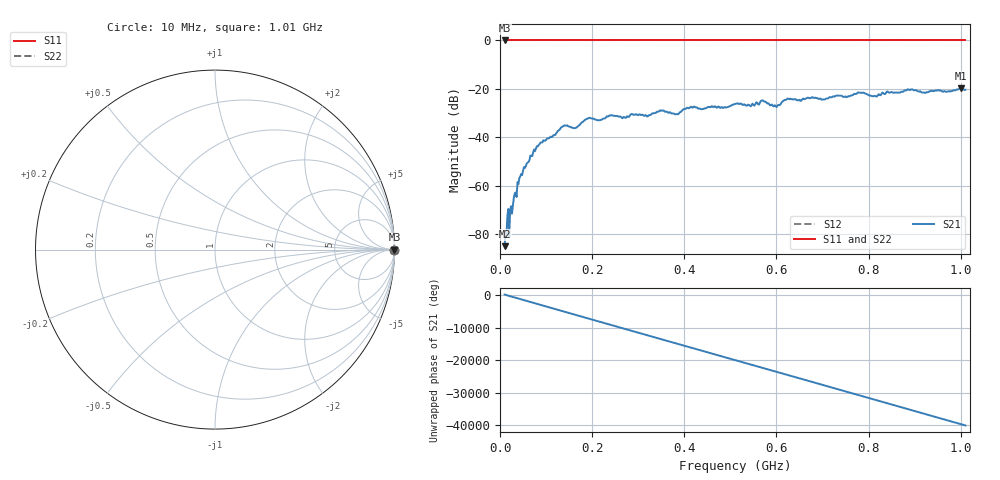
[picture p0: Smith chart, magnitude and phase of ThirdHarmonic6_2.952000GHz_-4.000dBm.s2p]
! 8/17/2025 8:18:11 AM
! C:\ANRITSUVNA\TEMP\TEMP.S2P
! CHANNEL.1
! TR.MEASUREMENT
! RAW.DATA
! RF.CORRECTION.OFF
! AVERAGING.OFF
! IF.BANDWIDTH: 5KHZ
! SWEEPTYPE:  FREQ.SWEEP(Linear)
! Reference Plane Port Info
! PORT:  PORT1  PORT2
! DISTANCE:  0  m  0  m
! TIME:  0  s  0  s
! PHASE.OFFSET:  0  deg.  0  deg.
! LOSS:  0  dB  0  dB
! REF.LOSS:  0  dB  0  dB
! REF.FREQ:  0  Hz  0  Hz
! Power Info
! POWER:  -20  dBm  -20  dBm
! EFF.POWER:  -20  dBm  -20  dBm
! SOURCE.ATTEN:  0  dB  0  dB
! TEST.ATTEN:  0  dB  0  dB
# GHZ S RI R 50.0
! FREQ.GHZ  S11RE  S11IM  S21RE  S21IM  S12RE  S12IM  S22RE  S22IM
!; PortSelection: Port_12
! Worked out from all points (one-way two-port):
!   501 points, 10 MHz to 1.01 GHz, reference 50 ohm
!   highest |S21| = -19.70 dB at 1 GHz (marker M1); lowest = -84.9 dB at 10 MHz (marker M2)
!   lowest |S11| = 0.0 dB at 10 MHz (marker M3)
!   |S11| at or under -10 dB: nowhere
!   |S22| runs from 0.0 to 0.0 dB; largest |S21 - S12| = 1.1
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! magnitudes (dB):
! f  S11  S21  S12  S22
! 10 MHz  0.0  -84.9  0.0  0.0
! 20 MHz  0.0  -81.1  0.0  0.0
! 24 MHz  0.0  -68.4  0.0  0.0
! 26 MHz  0.0  -71.5  0.0  0.0
! 42 MHz  0.0  -56.8  0.0  0.0
! 76 MHz  0.0  -45.6  0.0  0.0
! 136 MHz  0.0  -35.5  0.0  0.0
! 162 MHz  0.0  -36.2  0.0  0.0
! 178 MHz  0.0  -33.7  0.0  0.0
! 192 MHz  0.0  -32.1  0.0  0.0
! 322 MHz  0.0  -31.1  0.0  0.0
! 344 MHz  0.0  -29.4  0.0  0.0
! 384 MHz  0.0  -30.4  0.0  0.0
! 410 MHz  0.0  -28.0  0.0  0.0
! 510 MHz  0.0  -26.2  0.0  0.0
! 570 MHz  0.0  -24.8  0.0  0.0
! 598 MHz  0.0  -26.9  0.0  0.0
! 622 MHz  0.0  -24.2  0.0  0.0
! 678 MHz  0.0  -23.4  0.0  0.0
! 844 MHz  0.0  -21.5  0.0  0.0
! 1 GHz  0.0  -19.7  0.0  0.0
! 1.01 GHz  0.0  -20.4  0.0  0.0
